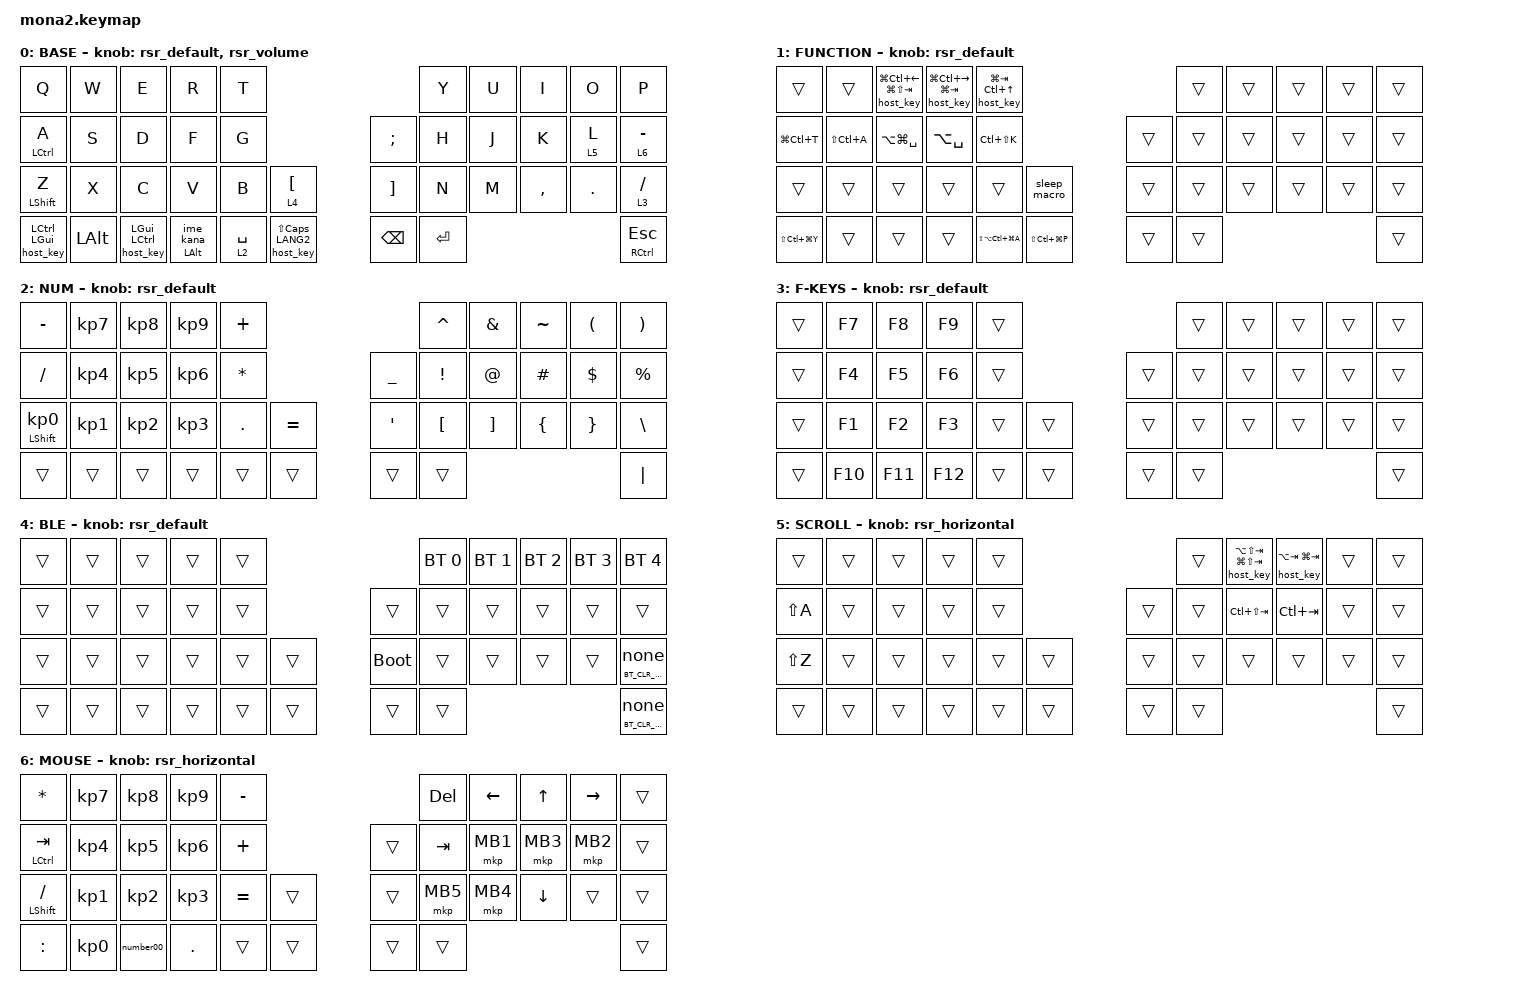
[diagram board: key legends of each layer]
#include <input/processors.dtsi>
#include <dt-bindings/zmk/input_transform.h>
#include <zephyr/dt-bindings/input/input-event-codes.h>
#include <behaviors/runtime-sensor-rotate.dtsi>
#include <behaviors.dtsi>
/* DYA Studio から作成したマクロを呼び出す `&rmacro <slot>` を定義する。
   slot は 0 〜 CONFIG_ZMK_RUNTIME_MACRO_COUNT-1 (現状 0〜7)。
   どのマクロがどのスロットに入っているかは DYA Studio のマクロ一覧で確認する。
   キーへの割り当ては DYA Studio のキーマップエディタからも行える。 */
#include <behaviors/runtime_macro.dtsi>
/* デフォルトレイヤー変更 behavior `&df`。
   DYA Studio の「OSごとのデフォルトレイヤー」から設定できるほか、
   キーマップエディタで `&df DF_SEL <layer>` / `&df DF_INC` を
   任意のキーに割り当てられる。 */
#include <behaviors/default_layer.dtsi>
#include <dt-bindings/zmk_behavior_default_layer/default_layer.h>
#include <dt-bindings/zmk/bt.h>
#include <dt-bindings/zmk/keys.h>
#include <dt-bindings/zmk/outputs.h>
#include <dt-bindings/zmk/pointing.h>

/* ZMK 側で 10 が定義済みなので警告回避のため一旦 undef */

#undef ZMK_POINTING_DEFAULT_SCRL_VAL

#define ZMK_POINTING_DEFAULT_SCRL_VAL 100


/ {
    behaviors {
        mg_set_0: behavior_mg_set_0 {
            compatible = "zmk,behavior-mg-set-fixed";
            #binding-cells = <0>;
            display-name = "Mouse Gesture Key 0";
        };

        mg_set_1: behavior_mg_set_1 {
            compatible = "zmk,behavior-mg-set-fixed";
            #binding-cells = <0>;
            display-name = "Mouse Gesture Key 1";
        };

        mg_set_2: behavior_mg_set_2 {
            compatible = "zmk,behavior-mg-set-fixed";
            #binding-cells = <0>;
            display-name = "Mouse Gesture Key 2";
        };
    };
};

&mt {
    flavor = "balanced";
    quick-tap-ms = <0>;
};


&msc {
    delay-ms = <0>;
    time-to-max-speed-ms = <0>;
    acceleration-exponent = <0>;
};

/ {
    /* Old update's ten combos, available for editing in DYA Studio.
       Keep the previous DYA slots for Tab/Copy/Paste/Cut. Slots 10–15 are free. */
    runtime_combo_defaults {
        compatible = "cormoran,runtime-combo-defaults";

        select_all {
            slot = <0>;
            display-name = "Select All (A+S)";
            key-positions = <10 11>;
            bindings = <&host_key LC(A) LG(A)>;
            layers = <0 6>;
            timeout-ms = <50>;
            require-prior-idle-ms = <0>;
        };

        tab {
            slot = <1>;
            display-name = "Tab (W+E)";
            key-positions = <1 2>;
            bindings = <&kp TAB>;
            timeout-ms = <50>;
            require-prior-idle-ms = <0>;
        };

        copy {
            slot = <2>;
            display-name = "Copy (S+D)";
            key-positions = <11 12>;
            bindings = <&host_key LC(C) LG(C)>;
            timeout-ms = <50>;
            require-prior-idle-ms = <0>;
        };

        paste {
            slot = <3>;
            display-name = "Paste (D+F)";
            key-positions = <12 13>;
            bindings = <&host_key LC(V) LG(V)>;
            timeout-ms = <50>;
            require-prior-idle-ms = <0>;
        };

        cut {
            slot = <4>;
            display-name = "Cut (F+G)";
            key-positions = <13 14>;
            bindings = <&host_key LC(X) LG(X)>;
            timeout-ms = <50>;
            require-prior-idle-ms = <0>;
        };

        shift_tab {
            slot = <5>;
            display-name = "Shift+Tab (E+R)";
            key-positions = <2 3>;
            bindings = <&kp LS(TAB)>;
            timeout-ms = <50>;
            require-prior-idle-ms = <0>;
        };

        function {
            slot = <6>;
            display-name = "Function / Right Shift (J+K)";
            key-positions = <17 18>;
            bindings = <&lt 1 RIGHT_SHIFT>;
            timeout-ms = <50>;
            require-prior-idle-ms = <0>;
        };

        undo {
            slot = <7>;
            display-name = "Undo (Z+X)";
            key-positions = <21 22>;
            bindings = <&host_key LC(Z) LG(Z)>;
            timeout-ms = <50>;
            require-prior-idle-ms = <0>;
        };

        redo {
            slot = <8>;
            display-name = "Redo (X+C)";
            key-positions = <22 23>;
            bindings = <&host_key LC(Y) LG(LS(Z))>;
            timeout-ms = <50>;
            require-prior-idle-ms = <0>;
        };

        clipboard {
            slot = <9>;
            display-name = "Clipboard (C+V)";
            key-positions = <23 24>;
            bindings = <&kp LG(V)>;
            timeout-ms = <50>;
            require-prior-idle-ms = <0>;
        };
    };

    /* 静的マクロ。キーマップ上で &BT0 / &screenshot などの名前で直接
       参照しているため、そのまま残している (DYA Studio 上では編集不可)。
       DYA Studio から編集したいマクロは Web UI で新規作成し、
       キーに `&rmacro <slot>` を割り当てて使う。 */
    macros {
        ime_eisu: ime_eisu {
            compatible = "zmk,behavior-macro";
            #binding-cells = <0>;
            bindings = <&host_key INT_MUHENKAN LANG2>;
        };

        ime_kana: ime_kana {
            compatible = "zmk,behavior-macro";
            #binding-cells = <0>;
            bindings = <&host_key INT_HENKAN LANG1>;
        };

        to_layer_0: to_layer_0 {
            compatible = "zmk,behavior-macro-one-param";
            #binding-cells = <1>;
            bindings = <&to 0 &macro_param_1to1 &kp MACRO_PLACEHOLDER>;
            label = "TO_LAYER_0";
        };

        number00: number00 {
            compatible = "zmk,behavior-macro";
            #binding-cells = <0>;
            bindings = <&kp KP_N0 &kp KP_N0>;
            label = "NUMBER00";
        };

        sleep_macro: sleep_macro {
            compatible = "zmk,behavior-macro";
            #binding-cells = <0>;
            bindings =
                <&kp LG(X)>,
                <&macro_wait_time 20>,
                <&kp U>,
                <&macro_wait_time 20>,
                <&kp S>;

            label = "SLEEP_MACRO";
        };

        BT0: BT0 {
            compatible = "zmk,behavior-macro";
            #binding-cells = <0>;
            bindings =
                <&tog_off 0 &tog_off 1>,
                <&macro_wait_time 200>,
                <&bt BT_SEL 0>,
                <&macro_wait_time 500>,
                <&tog_on 0>;

            label = "BT0";
        };

        BT1: BT1 {
            compatible = "zmk,behavior-macro";
            #binding-cells = <0>;
            bindings =
                <&tog_off 0 &tog_off 1>,
                <&macro_wait_time 200>,
                <&bt BT_SEL 1>,
                <&macro_wait_time 500>,
                <&tog_on 1>;

            label = "BT1";
        };

        screenshot: screenshot {
            compatible = "zmk,behavior-macro";
            #binding-cells = <0>;
            bindings =
                <&macro_press>,
                <&kp LEFT_GUI &kp RSHIFT>,
                <&macro_wait_time 20>,
                <&macro_tap>,
                <&kp S>,
                <&macro_release>,
                <&kp LEFT_GUI &kp RSHIFT>;

            label = "SCREENSHOT";
        };

        henkan: henkan {
            compatible = "zmk,behavior-macro";
            #binding-cells = <0>;
            bindings =
                <&macro_press>,
                <&kp LEFT_ALT>,
                <&macro_wait_time 20>,
                <&macro_tap>,
                <&kp GRAVE>,
                <&macro_release>,
                <&kp LEFT_ALT>;

            label = "HENKAN";
        };
    };

    behaviors {
        host_key: host_key {
            compatible = "mona,behavior-host-key";
            #binding-cells = <2>;
            display-name = "Host Key (Windows / Apple)";
        };

        nav_eisu: nav_eisu {
            compatible = "zmk,behavior-hold-tap";
            #binding-cells = <2>;
            display-name = "NAV / Eisu";
            tapping-term-ms = <200>;
            bindings = <&mo>, <&ime_eisu>;
        };

        nav_kana: nav_kana {
            compatible = "zmk,behavior-hold-tap";
            #binding-cells = <2>;
            display-name = "NAV / Kana";
            tapping-term-ms = <200>;
            bindings = <&mo>, <&ime_kana>;
        };

        /* Preserve the old LEFT_ALT hold and select the IME key only on tap. */
        henkan_alt: henkan_alt {
            compatible = "zmk,behavior-hold-tap";
            #binding-cells = <2>;
            display-name = "Alt / Henkan or Kana";
            flavor = "balanced";
            tapping-term-ms = <200>;
            quick-tap-ms = <0>;
            bindings = <&kp>, <&ime_kana>;
        };

        hold_bt_clear: hold_bt_clear {
            compatible = "zmk,behavior-hold-tap";
            #binding-cells = <2>;
            display-name = "Hold to Clear Bluetooth";
            tapping-term-ms = <1200>;
            flavor = "tap-preferred";
            bindings = <&bt>, <&none>;
        };

        lt_to_layer_0: lt_to_layer_0 {
            compatible = "zmk,behavior-hold-tap";
            label = "LAYER_TAP_TO_0";
            bindings = <&mo>, <&to_layer_0>;

            #binding-cells = <2>;
            tapping-term-ms = <200>;
        };

        tp_repeat_mo1: tp_repeat_mo1 {
            compatible = "zmk,behavior-hold-tap";
            label = "TP_REPEAT_MO1";
            bindings = <&mo>, <&key_repeat>;

            #binding-cells = <2>;
            tapping-term-ms = <200>;
        };

        // エンコーダ用 runtime-configurable sensor rotate
        // 旧 update の回転順 (cw=SCRL_UP, ccw=SCRL_DOWN)
        // DYA Studio Web UI から レイヤーごとに cw/ccw の binding を
        // kp C_VOL_UP/DN や kp LEFT/RIGHT などへ動的変更可能

        rsr_default: rsr_default {
            compatible = "zmk,behavior-runtime-sensor-rotate";
            #sensor-binding-cells = <0>;
            tap-ms = <20>;
            cw-binding = <&msc SCRL_UP>;
            ccw-binding = <&msc SCRL_DOWN>;
        };

        rsr_horizontal: rsr_horizontal {
            compatible = "zmk,behavior-runtime-sensor-rotate";
            #sensor-binding-cells = <0>;
            tap-ms = <20>;
            cw-binding = <&msc SCRL_LEFT>;
            ccw-binding = <&msc SCRL_RIGHT>;
        };

        rsr_volume: rsr_volume {
            compatible = "zmk,behavior-runtime-sensor-rotate";
            #sensor-binding-cells = <0>;
            tap-ms = <5>;
            cw-binding = <&kp C_VOL_DN>;
            ccw-binding = <&kp C_VOL_UP>;
        };

        tog_on: toggle_layer_on_only {
            compatible = "zmk,behavior-toggle-layer";
            #binding-cells = <1>;
            display-name = "Toggle Layer On";
            toggle-mode = "on";
        };

        tog_off: toggle_layer_off_only {
            compatible = "zmk,behavior-toggle-layer";
            #binding-cells = <1>;
            display-name = "Toggle Layer Off";
            toggle-mode = "off";
        };

        zfold: zfold {
            compatible = "zmk,behavior-hold-tap";
            label = "ZFOLD";
            bindings = <&kp>, <&kp>;

            #binding-cells = <2>;
            tapping-term-ms = <300>;
            flavor = "hold-preferred";
            quick-tap-ms = <150>;
            hold-while-undecided;
        };

        zfoldZ: zfoldZ {
            compatible = "zmk,behavior-tap-dance";
            label = "ZFOLDZ";
            #binding-cells = <0>;
            bindings = <&zfold LEFT_SHIFT Z>, <&kp LS(Z)>;
        };
    };

    keymap {
        compatible = "zmk,keymap";

        default_layer {
            display-name = "BASE";
            bindings = <
&kp Q             &kp W         &kp E         &kp R                    &kp T                                                 &kp Y      &kp U  &kp I      &kp O    &kp P
&mt LCTRL A       &kp S         &kp D         &kp F                    &kp G                              &kp SEMI           &kp H      &kp J  &kp K      &lt 5 L  &lt 6 MINUS
&mt LEFT_SHIFT Z  &kp X         &kp C         &kp V                    &kp B        &lt 4 LEFT_BRACKET    &kp RIGHT_BRACKET  &kp N      &kp M  &kp COMMA  &kp DOT  &lt 3 SLASH
&host_key LCTRL LGUI  &kp LEFT_ALT  &host_key LGUI LCTRL  &henkan_alt LEFT_ALT 0  &lt 2 SPACE  &host_key LS(CAPS) LANG2          &kp BACKSPACE      &kp ENTER                             &mt RCTRL ESCAPE
            >;

            sensor-bindings = <&rsr_default>, <&rsr_volume>;
        };

        layer_1 {
            display-name = "FUNCTION";
            bindings = <
&trans             &trans         &host_key LG(LC(LEFT_ARROW)) LG(LS(TAB))  &host_key LG(LC(RIGHT_ARROW)) LG(TAB)  &host_key LG(TAB) LC(UP_ARROW)                                         &trans  &trans  &trans  &trans  &trans
&kp LG(LC(T))      &kp LS(LC(A))  &kp LA(LG(SPACE))       &kp LA(SPACE)            &kp LC(LS(K))                               &trans  &trans  &trans  &trans  &trans  &trans
&trans             &trans         &trans                  &trans                   &trans                 &sleep_macro         &trans  &trans  &trans  &trans  &trans  &trans
&kp LS(LC(LG(Y)))  &trans         &trans                  &trans                   &kp LS(LA(LC(LG(A))))  &kp LS(LC(LG(P)))    &trans  &trans                          &trans
            >;

            sensor-bindings = <&rsr_default>;
        };

        layer_2 {
            display-name = "NUM";
            bindings = <
&kp MINUS                   &kp KP_NUMBER_7  &kp KP_NUMBER_8  &kp KP_NUMBER_9  &kp PLUS                                     &kp CARET         &kp AMPERSAND      &kp TILDE       &kp LEFT_PARENTHESIS  &kp RIGHT_PARENTHESIS
&kp SLASH                   &kp KP_NUMBER_4  &kp KP_NUMBER_5  &kp KP_NUMBER_6  &kp ASTERISK               &kp UNDERSCORE    &kp EXCLAMATION   &kp AT_SIGN        &kp HASH        &kp DOLLAR            &kp PERCENT
&mt LEFT_SHIFT KP_NUMBER_0  &kp KP_NUMBER_1  &kp KP_NUMBER_2  &kp KP_NUMBER_3  &kp PERIOD    &kp EQUAL    &kp SINGLE_QUOTE  &kp LEFT_BRACKET  &kp RIGHT_BRACKET  &kp LEFT_BRACE  &kp RIGHT_BRACE       &kp BACKSLASH
&trans                      &trans           &trans           &trans           &trans        &trans       &trans            &trans                                                                     &kp PIPE
            >;

            sensor-bindings = <&rsr_default>;
        };

        layer_3 {
            display-name = "F-KEYS";
            bindings = <
&trans  &kp F7   &kp F8   &kp F9   &trans                    &trans  &trans  &trans  &trans  &trans
&trans  &kp F4   &kp F5   &kp F6   &trans            &trans  &trans  &trans  &trans  &trans  &trans
&trans  &kp F1   &kp F2   &kp F3   &trans  &trans    &trans  &trans  &trans  &trans  &trans  &trans
&trans  &kp F10  &kp F11  &kp F12  &trans  &trans    &trans  &trans                          &trans
            >;

            sensor-bindings = <&rsr_default>;
        };

        layer_4 {
            display-name = "BLE";
            bindings = <
&trans  &trans  &trans  &trans  &trans                         &bt BT_SEL 0  &bt BT_SEL 1  &bt BT_SEL 2  &bt BT_SEL 3  &bt BT_SEL 4
&trans  &trans  &trans  &trans  &trans            &trans       &trans        &trans        &trans        &trans        &trans
&trans  &trans  &trans  &trans  &trans  &trans    &bootloader  &trans        &trans        &trans        &trans        &hold_bt_clear BT_CLR_CMD 0
&trans  &trans  &trans  &trans  &trans  &trans    &trans       &trans                                                  &hold_bt_clear BT_CLR_ALL_CMD 0
            >;

            sensor-bindings = <&rsr_default>;
        };

        layer_5 {
            display-name = "SCROLL";
            bindings = <
&trans     &trans  &trans  &trans  &trans                    &trans  &host_key LA(LS(TAB)) LG(LS(TAB))  &host_key LA(TAB) LG(TAB)  &trans  &trans
&kp LS(A)  &trans  &trans  &trans  &trans            &trans  &trans  &kp LC(LS(TAB))  &kp LC(TAB)  &trans  &trans
&kp LS(Z)  &trans  &trans  &trans  &trans  &trans    &trans  &trans  &trans           &trans       &trans  &trans
&trans     &trans  &trans  &trans  &trans  &trans    &trans  &trans                                        &trans
            >;

            sensor-bindings = <&rsr_horizontal>;
        };

        MOUSE {
            display-name = "MOUSE";
            bindings = <
&kp ASTERISK          &kp KP_NUMBER_7  &kp KP_NUMBER_8  &kp KP_NUMBER_9  &kp MINUS                    &kp DEL   &kp LEFT  &kp UP_ARROW  &kp RIGHT  &trans
&mt LCTRL TAB         &kp KP_NUMBER_4  &kp KP_NUMBER_5  &kp KP_NUMBER_6  &kp PLUS             &trans  &kp TAB   &mkp MB1  &mkp MB3      &mkp MB2   &trans
&mt LEFT_SHIFT SLASH  &kp KP_NUMBER_1  &kp KP_NUMBER_2  &kp KP_NUMBER_3  &kp EQUAL  &trans    &trans  &mkp MB5  &mkp MB4  &kp DOWN      &trans     &trans
&kp COLON             &kp KP_NUMBER_0  &number00        &kp PERIOD       &trans     &trans    &trans  &trans                                       &trans
            >;

            sensor-bindings = <&rsr_horizontal>;
        };
    };
};
